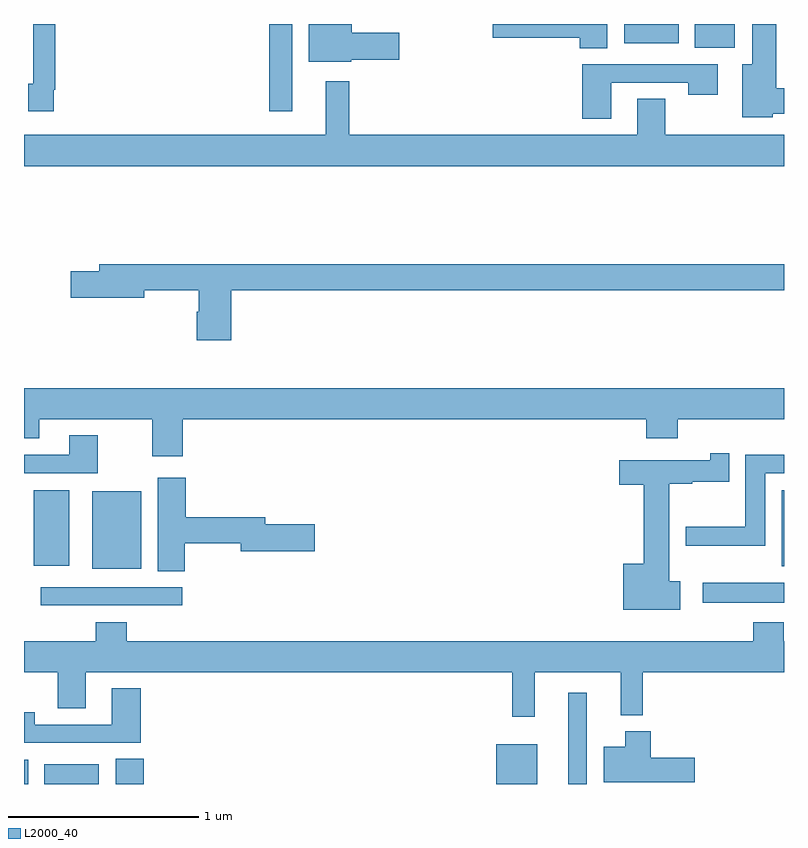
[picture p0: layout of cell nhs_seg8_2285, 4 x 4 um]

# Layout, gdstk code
import gdstk
lib = gdstk.Library(unit=1e-6, precision=1e-09)
def R(c, l, rs):  # rectangles x0, y0, x1, y1
    for r in rs: c.add(gdstk.rectangle(r[:2], r[2:], *l))
def P(c, l, *ps):  # polygons
    for p in ps: c.add(gdstk.Polygon(p, *l))
L2000_40 = (2000, 40)

nhs_seg8_2285 = lib.new_cell('nhs_seg8_2285')
R(nhs_seg8_2285, L2000_40, [(255,1127.9,255.022,1128.028), (255.107,1127.9,255.394,1128.004), (255.482,1127.9,255.629,1128.032), (257.486,1127.9,257.701,1128.109), (257.864,1127.9,257.961,1128.379), (255.087,1128.84,255.832,1128.936), (258.573,1128.854,259,1128.958), (255.359,1129.034,255.616,1129.441), (258.989,1129.046,259,1129.447), (255.05,1129.049,255.238,1129.447), (256.29,1131.441,256.411,1131.9), (258.53,1131.776,258.742,1131.9), (258.158,1131.8,258.445,1131.9)])
P(nhs_seg8_2285, L2000_40, [(255.157,1131.553),(255.164,1131.553),(255.164,1131.9),(255.048,1131.9),(255.048,1131.585),(255.022,1131.585),(255.022,1131.441),(255.157,1131.441)],
  [(258.942,1131.428),(259,1131.428),(259,1131.563),(258.959,1131.563),(258.959,1131.9),(258.833,1131.9),(258.833,1131.688),(258.779,1131.688),(258.779,1131.41),(258.942,1131.41)],
  [(258.07,1131.9),(257.466,1131.9),(257.466,1131.827),(257.924,1131.827),(257.924,1131.772),(258.07,1131.772)],
  [(256.722,1131.712),(256.975,1131.712),(256.975,1131.854),(256.726,1131.854),(256.726,1131.9),(256.499,1131.9),(256.499,1131.701),(256.722,1131.701)],
  [(258.091,1131.591),(258.496,1131.591),(258.496,1131.528),(258.652,1131.528),(258.652,1131.687),(257.939,1131.687),(257.939,1131.402),(258.091,1131.402)],
  [(259,1131.316),(258.375,1131.316),(258.375,1131.506),(258.227,1131.506),(258.227,1131.316),(256.711,1131.316),(256.711,1131.598),(256.589,1131.598),(256.589,1131.316),(255,1131.316),(255,1131.152),(259,1131.152)],
  [(256.091,1130.5),(259,1130.5),(259,1130.636),(255.395,1130.636),(255.395,1130.6),(255.246,1130.6),(255.246,1130.458),(255.634,1130.458),(255.634,1130.5),(255.92,1130.5),(255.92,1130.385),(255.908,1130.385),(255.908,1130.235),(256.091,1130.235)],
  [(255.836,1129.82),(258.275,1129.82),(258.275,1129.721),(258.44,1129.721),(258.44,1129.82),(259,1129.82),(259,1129.984),(255,1129.984),(255,1129.721),(255.079,1129.721),(255.079,1129.82),(255.676,1129.82),(255.676,1129.626),(255.836,1129.626)],
  [(255.387,1129.735),(255.239,1129.735),(255.239,1129.632),(255,1129.632),(255,1129.536),(255.387,1129.536)],
  [(258.454,1128.968),(258.397,1128.968),(258.397,1129.481),(258.516,1129.481),(258.516,1129.492),(258.712,1129.492),(258.712,1129.642),(258.612,1129.642),(258.612,1129.603),(258.132,1129.603),(258.132,1129.474),(258.263,1129.474),(258.263,1129.06),(258.155,1129.06),(258.155,1128.818),(258.454,1128.818)],
  [(258.901,1129.536),(259,1129.536),(259,1129.634),(258.797,1129.634),(258.797,1129.254),(258.482,1129.254),(258.482,1129.154),(258.901,1129.154)],
  [(255.846,1129.168),(256.142,1129.168),(256.142,1129.126),(256.531,1129.126),(256.531,1129.268),(256.27,1129.268),(256.27,1129.304),(255.851,1129.304),(255.851,1129.513),(255.704,1129.513),(255.704,1129.021),(255.846,1129.021)],
  [(257.687,1128.488),(258.14,1128.488),(258.14,1128.263),(258.257,1128.263),(258.257,1128.488),(259,1128.488),(259,1128.652),(258.999,1128.652),(258.999,1128.751),(258.839,1128.751),(258.839,1128.652),(255.542,1128.652),(255.542,1128.751),(255.377,1128.751),(255.377,1128.652),(255,1128.652),(255,1128.488),(255.178,1128.488),(255.178,1128.298),(255.325,1128.298),(255.325,1128.488),(257.569,1128.488),(257.569,1128.255),(257.687,1128.255)],
  [(255.614,1128.403),(255.461,1128.403),(255.461,1128.213),(255.057,1128.213),(255.057,1128.277),(255,1128.277),(255,1128.117),(255.614,1128.117)],
  [(258.529,1128.039),(258.299,1128.039),(258.299,1128.178),(258.164,1128.178),(258.164,1128.097),(258.05,1128.097),(258.05,1127.909),(258.529,1127.909)])

lib.write_gds('nhs_seg8_2285.gds')
